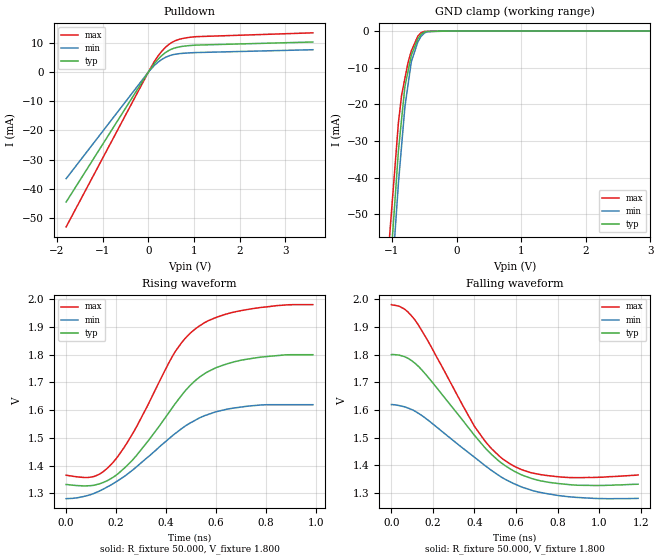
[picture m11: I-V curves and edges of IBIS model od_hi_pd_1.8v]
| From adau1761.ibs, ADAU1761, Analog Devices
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[Model]   od_hi_pd_1.8v
Model_type I/O_open_drain
Vinl=5.400E-01
Vinh=1.260E+00
Vref=1.800E+00
Rref=2.000E+03
Cref=0.000E+00
Vmeas=9.000E-01
C_comp   5.9300E-13   5.6335E-13   6.2265E-13
[Voltage Range]   1.800E+00   1.620E+00   1.980E+00
[POWER Clamp Reference]   1.800E+00   1.620E+00   1.980E+00
[GND Clamp Reference]   0.000E+00   0.000E+00   0.000E+00
[Pullup Reference]   1.800E+00   1.620E+00   1.980E+00
[Pulldown Reference]   0.000E+00   0.000E+00   0.000E+00
[Temperature Range]   25   85   -40
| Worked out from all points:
|   slope of the pulldown table from 0 to 0.27 V, typ, clamps not added: 50.9 ohm
|   GND clamp passes 1 mA (typ) near -0.56 V on its own axis
|   rising waveform, R_fixture 50.000, V_fixture 1.800: 20-80 % time 245ps typ, 281ps min, 227ps max; typ from 1.33 V to 1.8 V
|   falling waveform, R_fixture 50.000, V_fixture 1.800: 20-80 % time 313ps typ, 355ps min, 280ps max; typ from 1.8 V to 1.33 V
[GND Clamp]
-1.8V     -261.3mA   -272.9mA   -228.9mA
-900mV    -32.59mA   -41.45mA   -24.95mA
-850mV    -23.87mA   -31.06mA   -17.37mA
-800mV    -15.15mA   -20.68mA   -12.93mA
-750mV    -10.84mA   -14.49mA   -8.487mA
-700mV    -6.526mA   -8.303mA   -5.366mA
-600mV    -2.139mA   -2.97mA    -1.386mA
-550mV    -873uA     -1.423mA   -435.1uA
-500mV    -263uA     -545.3uA   -91.86uA
-450mV    -57.74uA   -156.7uA   -76.07uA
-225mV    -2.654uA   -31.93uA   -12.71uA
3.6V      14.4uA     24uA       9uA
[Pulldown]
-1.8V     -44.49mA   -36.49mA   -53mA
40mV      934.7uA    739.2uA    1.153mA
140mV     3.087mA    2.41mA     3.848mA
260mV     5.157mA    3.962mA    6.493mA
380mV     6.748mA    5.094mA    8.581mA
460mV     7.506mA    5.604mA    9.612mA
680mV     8.638mA    6.312mA    11.24mA
1.02V     9.205mA    6.662mA    12.09mA
3.6V      10.3mA     7.65mA     13.43mA
[Rising Waveform]
R_fixture = 50.000
V_fixture = 1.800
V_fixture_min = 1.620
V_fixture_max = 1.980
|  time   V(typ)   V(min)   V(max)
0s        1.332V     1.281V     1.365V
110ps     1.329V     1.3V       1.361V
190ps     1.359V     1.336V     1.414V
280ps     1.435V     1.395V     1.537V
437.5ps   1.625V     1.516V     1.812V
482.5ps   1.675V     1.546V     1.864V
532.5ps   1.718V     1.571V     1.903V
597.5ps   1.752V     1.593V     1.933V
700ps     1.78V      1.611V     1.958V
987.5ps   1.8V       1.619V     1.98V
[Falling Waveform]
R_fixture = 50.000
V_fixture = 1.800
V_fixture_min = 1.620
V_fixture_max = 1.980
|  time   V(typ)   V(min)   V(max)
0s        1.8V       1.619V     1.98V
60ps      1.793V     1.612V     1.965V
115ps     1.768V     1.595V     1.923V
400ps     1.508V     1.429V     1.541V
472.5ps   1.446V     1.387V     1.468V
545ps     1.4V       1.351V     1.419V
637.5ps   1.363V     1.319V     1.382V
755ps     1.339V     1.297V     1.363V
897.5ps   1.328V     1.284V     1.356V
1.188ns   1.332V     1.281V     1.365V
[Ramp]
dV/dt_r   2.8056E-01/2.4550E-10   2.0340E-01/2.8090E-10   3.6864E-01/2.2720E-10
dV/dt_f   2.8056E-01/3.1172E-10   2.0340E-01/3.5437E-10   3.6864E-01/2.8023E-10
R_load = 50
